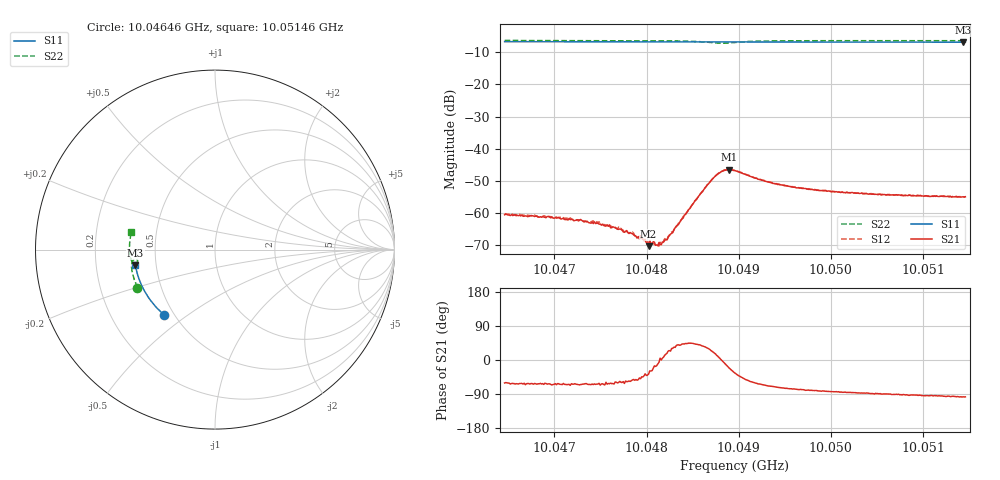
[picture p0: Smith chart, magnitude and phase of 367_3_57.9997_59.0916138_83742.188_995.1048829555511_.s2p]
#  HZ  S  RI  R  50.00
! Rohde & Schwarz Vector Network Analyzer
! Rohde-Schwarz,ZNB20-2Port,1311601062101988,3.16
! Created: UTC 3/21/2024, 1:06:46 AM
! freq[Hz]  re:S11  im:S11  re:S21  im:S21  re:S12  im:S12  re:S22  im:S22
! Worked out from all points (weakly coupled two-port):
!   401 points, 10.04646 GHz to 10.05146 GHz, reference 50 ohm
!   highest |S21| = -46.44 dB at 10.0489 GHz (marker M1); lowest = -70.2 dB at 10.04802 GHz (marker M2)
!   lowest |S11| = -6.9 dB at 10.05144 GHz (marker M3), VSWR 2.65, Z = 19 - j4.21 ohm
!   |S11| at or under -10 dB: nowhere
!   |S22| runs from -7.2 to -6.4 dB; largest |S21 - S12| = 0.00033
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1.0046458e10  -0.2818 -0.3647  0.000464 -0.000825  0.000543 -0.00083  -0.432 -0.2113
1.0046946e10  -0.3059 -0.3432  0.000406 -0.000793  0.00044 -0.000744  -0.4446 -0.181
1.0047296e10  -0.3223 -0.3269  0.000338 -0.000697  0.000382 -0.000656  -0.4524 -0.1583
1.0047484e10  -0.3307 -0.3178  0.000323 -0.000596  0.000404 -0.000619  -0.4561 -0.146
1.0047722e10  -0.3409 -0.3062  0.000292 -0.000482  0.000312 -0.000493  -0.46 -0.1298
1.0047847e10  -0.3462 -0.2996  0.000294 -0.000383  0.000318 -0.000398  -0.462 -0.1206
1.0048022e10  -0.3533 -0.2906  0.000247 -0.000185  0.000297 -0.000173  -0.464 -0.1077
1.0048059e10  -0.355 -0.2886  0.000301 -0.000162  0.000314 -0.000117  -0.4642 -0.1049
1.0048109e10  -0.3569 -0.2859  0.000312 -8.43e-05  0.000312 -5.35e-05  -0.4646 -0.101
1.0048134e10  -0.3579 -0.2846  0.000351 -3.87e-05  0.000308 -3.57e-05  -0.4649 -0.0989
1.0048197e10  -0.3605 -0.2815  0.00037 8.36e-05  0.000384 0.000124  -0.465 -0.094
1.0048247e10  -0.3623 -0.2788  0.000408 0.00019  0.000403 0.000214  -0.4652 -0.0899
1.0048547e10  -0.3734 -0.2623  0.00126 0.00112  0.00119 0.0012  -0.4586 -0.0623
1.0048722e10  -0.3795 -0.2526  0.00326 0.00123  0.00319 0.00144  -0.4407 -0.0529
1.0048822e10  -0.3829 -0.2471  0.00449 -0.000181  0.00453 6.99e-05  -0.4311 -0.062
1.0048897e10  -0.3853 -0.2431  0.00444 -0.00174  0.00457 -0.00144  -0.4346 -0.0718
1.004896e10  -0.3874 -0.2396  0.00378 -0.00261  0.00396 -0.00238  -0.4423 -0.0753
1.0049373e10  -0.4007 -0.216  0.000992 -0.00272  0.00114 -0.0027  -0.471 -0.046
1.0049798e10  -0.4127 -0.1906  0.000397 -0.00232  0.00053 -0.00229  -0.4761 -0.0128
1.0050636e10  -0.4314 -0.1391  9.53e-06 -0.00192  0.000109 -0.00195  -0.4744 0.0457
1.0051437e10  -0.4433 -0.088  -0.000226 -0.00179  -0.000114 -0.00179  -0.4659 0.0988
1.0051462e10  -0.4437 -0.0864  -0.000231 -0.00179  -0.000164 -0.00179  -0.4656 0.1003
